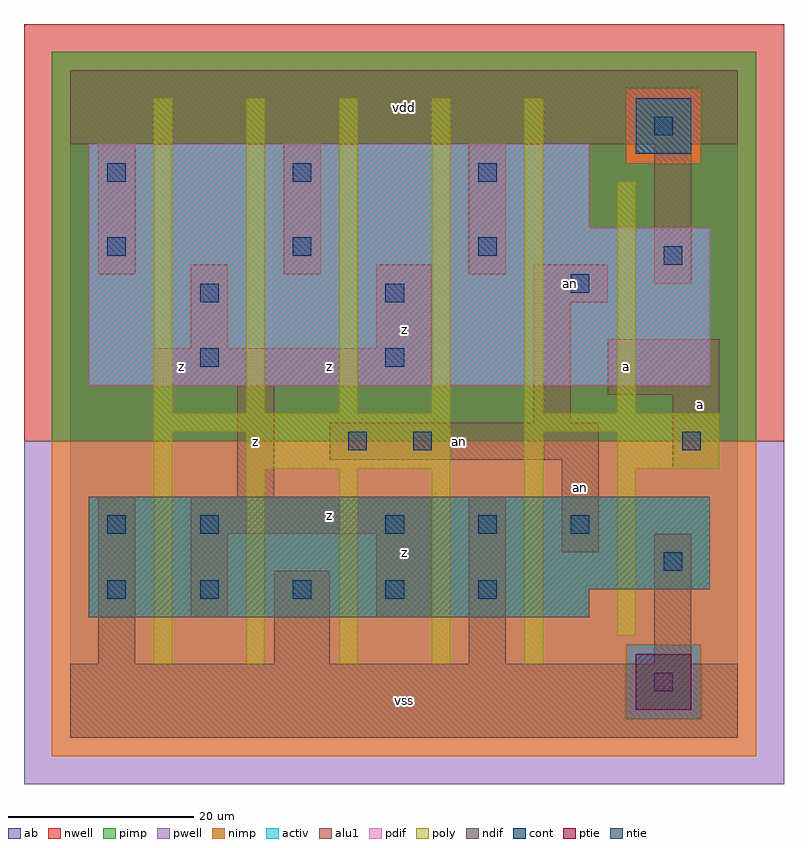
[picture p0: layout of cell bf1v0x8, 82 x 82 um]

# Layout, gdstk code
import gdstk
lib = gdstk.Library(unit=1e-6, precision=1e-09)
def R(c, l, rs):  # rectangles x0, y0, x1, y1
    for r in rs: c.add(gdstk.rectangle(r[:2], r[2:], *l))
def A(c, l, x, y, w, h, nx, ny, dx, dy):  # array of equal rectangles
    R(c, l, [(x+i*dx, y+j*dy, x+i*dx+w, y+j*dy+h) for i in range(nx) for j in range(ny)])
ndif = (3, 0)
pdif = (4, 0)
ntie = (5, 0)
ptie = (6, 0)
cont = (25, 0)
pwell = (41, 0)
nwell = (42, 0)
activ = (43, 0)
pimp = (44, 0)
nimp = (45, 0)
poly = (46, 0)
alu1 = (49, 0)
ab = (63, 0)

bf1v0x8 = lib.new_cell('bf1v0x8')
R(bf1v0x8, ndif, [(2,13,56,16), (2,16,69,26)])
R(bf1v0x8, pdif, [(2,38,69,55), (2,55,56,64)])
R(bf1v0x8, ntie, [(61,63,67,69)])
R(bf1v0x8, ptie, [(61,3,67,9)])
A(bf1v0x8, cont, 4, 15, 2, 2, 5, 1, 10, 0)
A(bf1v0x8, cont, 34, 22, 2, 2, 3, 1, 10, 0)
A(bf1v0x8, cont, 4, 52, 2, 2, 3, 2, 20, 8)
R(bf1v0x8, cont, [(63,5,65,7), (64,18,66,20), (4,22,6,24), (14,22,16,24), (30,31,32,33), (37,31,39,33), (66,31,68,33), (14,40,16,42), (34,40,36,42), (14,47,16,49), (34,47,36,49), (54,48,56,50), (64,51,66,53), (63,65,65,67)])
R(bf1v0x8, pwell, [(-5,-5,77,32)])
R(bf1v0x8, nwell, [(-5,32,77,77)])
R(bf1v0x8, activ, [(61,3,67,9), (2,13,56,16), (2,16,69,26), (2,38,69,55), (2,55,56,64), (61,63,67,69)])
R(bf1v0x8, pimp, [(60,2,68,10), (-2,32,74,62), (-2,62,60,70), (68,62,74,70), (-2,70,74,74)])
R(bf1v0x8, nimp, [(-2,-2,74,2), (-2,2,60,10), (68,2,74,10), (-2,10,74,32), (60,62,68,70)])
A(bf1v0x8, poly, 19, 8, 2, 21, 3, 1, 10, 0)
A(bf1v0x8, poly, 9, 35, 2, 34, 5, 1, 10, 0)
R(bf1v0x8, poly, [(9,8,11,33), (49,8,51,33), (59,11,61,29), (19,29,41,33), (59,29,70,33), (9,33,41,35), (49,33,70,35), (59,35,61,60)])
A(bf1v0x8, alu1, 3, 50, 4, 14, 3, 1, 20, 0)
R(bf1v0x8, alu1, [(0,0,72,8), (3,8,7,26), (22,8,28,18), (43,8,47,26), (63,8,67,22), (13,13,17,22), (33,13,39,22), (53,20,57,30), (13,22,39,26), (18,26,22,38), (65,29,70,37), (28,30,57,34), (50,34,54,47), (58,37,70,43), (9,38,39,42), (13,42,17,51), (33,42,39,51), (50,47,58,51), (63,49,67,64), (0,64,72,72)])
R(bf1v0x8, ab, [(0,0,72,72)])
bf1v0x8.add(gdstk.Label('an', (55,27), layer=49, texttype=0))
bf1v0x8.add(gdstk.Label('an', (42,32), layer=49, texttype=0))
bf1v0x8.add(gdstk.Label('an', (54,49), layer=49, texttype=0))
bf1v0x8.add(gdstk.Label('z', (12,40), layer=49, texttype=0))
bf1v0x8.add(gdstk.Label('z', (20,32), layer=49, texttype=0))
bf1v0x8.add(gdstk.Label('z', (28,24), layer=49, texttype=0))
bf1v0x8.add(gdstk.Label('z', (28,40), layer=49, texttype=0))
bf1v0x8.add(gdstk.Label('vss', (36,4), layer=49, texttype=0))
bf1v0x8.add(gdstk.Label('z', (36,20), layer=49, texttype=0))
bf1v0x8.add(gdstk.Label('z', (36,44), layer=49, texttype=0))
bf1v0x8.add(gdstk.Label('vdd', (36,68), layer=49, texttype=0))
bf1v0x8.add(gdstk.Label('a', (60,40), layer=49, texttype=0))
bf1v0x8.add(gdstk.Label('a', (68,36), layer=49, texttype=0))

lib.write_gds('bf1v0x8.gds')
